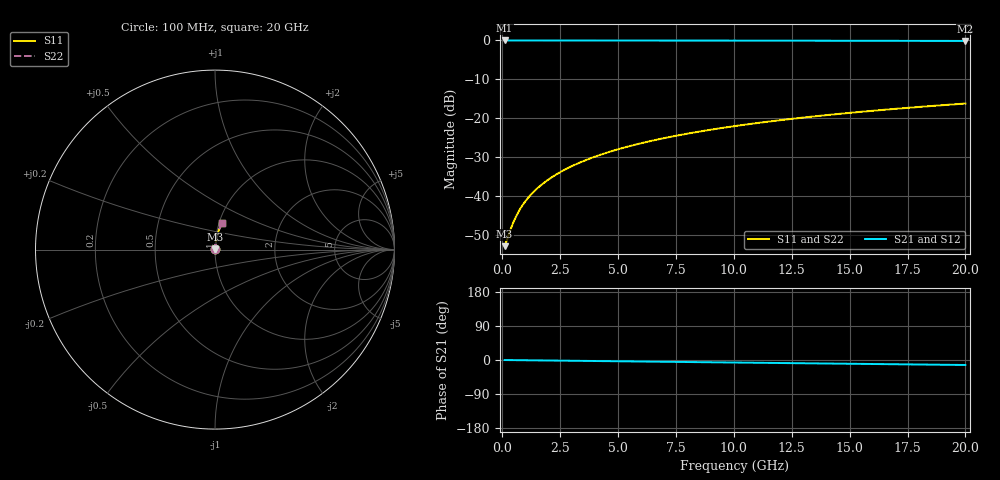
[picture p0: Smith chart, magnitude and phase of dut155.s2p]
! Touchstone file exported from HFSS 2026.1.0
!  File:  C:/ffzhzh/LocalFiles/Ansys_Project_Files/temp_train_TMRDL_155_1782983195_42984.aedt
!  Generated:  05:07:48 PM Jul  2, 2026
!  Design:  TMRDL
!  Project:  temp_train_TMRDL_155_1782983195_42984
! Variables:
!  h_bsmrdl = 2um
!  h_ox = 20um
!  h_rdl = 5um
!  h_sub = 80um
!  h_tmrdl = 2.02um
!  h_tsv = 80um
!  h_via = 3um
!  l_bsmrdl = 300um
!  l_sub = 543.87um
!  l_tmrdl = 143.87um
!  m_sub = 200um
!  pitch = 37.94um
!  r_tsv = 6um
!  s_tmrdl = 10um
!  w_bsmrdl = 18um
!  w_sub = 500um
!  w_tmrdl = 14.65um
!  x_tsv_center1 = 151.195um
!  x_tsv_center2 = 469.195um
!  x_tsv_center3 = 627.715um
!  x_tsv_center4 = 945.715um
!  x_tsv_center5 = 1104.235um
!  x_tsv_center6 = 1422.235um
# GHz S MA R 50.000000
! Terminal data exported
! Port[1] = TM_RDL1_1_T1
! Port[2] = TM_RDL1_1_T2
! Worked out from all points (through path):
!   200 points, 100 MHz to 20 GHz, reference 50 ohm
!   highest |S21| = -0.02 dB at 100 MHz (marker M1); lowest = -0.1 dB at 20 GHz (marker M2)
!   group delay of S21, straight-line fit = 1.83 ps
!   lowest |S11| = -53.0 dB at 100 MHz (marker M3), VSWR 1.00, Z = 50.2 + j0.0848 ohm
!   |S11| at or under -10 dB: start of sweep to end of sweep
!   |S22| runs from -53.0 to -16.3 dB; largest |S21 - S12| = 1.7e-15
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0.1  0.00225 22.1  0.9979 -0.1  0.9979 -0.1  0.00225 22.1
! Gamma 0 0 0 0
! Port Impedance 50 0 50 0
0.2  0.002697 38.7  0.9979 -0.1  0.9979 -0.1  0.002697 38.7
0.4  0.003993 57.0  0.9978 -0.3  0.9978 -0.3  0.003993 57.0
0.5  0.004722 62.0  0.9978 -0.3  0.9978 -0.3  0.004722 62.0
0.6  0.005472 65.6  0.9978 -0.4  0.9978 -0.4  0.005472 65.6
0.7  0.006232 68.2  0.9977 -0.5  0.9977 -0.5  0.006232 68.2
0.9  0.007763 71.9  0.9976 -0.6  0.9976 -0.6  0.007763 71.9
1.2  0.01007 75.3  0.9975 -0.8  0.9975 -0.8  0.01007 75.3
1.4  0.01161 76.8  0.9975 -1.0  0.9975 -1.0  0.01161 76.8
1.7  0.01393 78.5  0.9974 -1.2  0.9974 -1.2  0.01393 78.5
2.2  0.01782 80.2  0.9973 -1.5  0.9973 -1.5  0.01782 80.2
2.8  0.0225 81.4  0.9971 -1.9  0.9971 -1.9  0.0225 81.4
3.5  0.02797 82.1  0.9969 -2.4  0.9969 -2.4  0.02797 82.1
4.2  0.03346 82.5  0.9967 -2.8  0.9967 -2.8  0.03346 82.5
5  0.03972 82.6  0.9964 -3.3  0.9964 -3.3  0.03972 82.6
5.9  0.04677 82.5  0.996 -3.9  0.996 -3.9  0.04677 82.5
6.8  0.0538 82.3  0.9956 -4.5  0.9956 -4.5  0.0538 82.3
8.3  0.06548 81.7  0.9947 -5.5  0.9947 -5.5  0.06548 81.7
10.1  0.07942 80.9  0.9935 -6.7  0.9935 -6.7  0.07942 80.9
13.4  0.1047 79.0  0.9908 -8.9  0.9908 -8.9  0.1047 79.0
16.7  0.1296 77.1  0.9874 -11.0  0.9874 -11.0  0.1296 77.1
20  0.1539 75.1  0.9834 -13.2  0.9834 -13.2  0.1539 75.1
